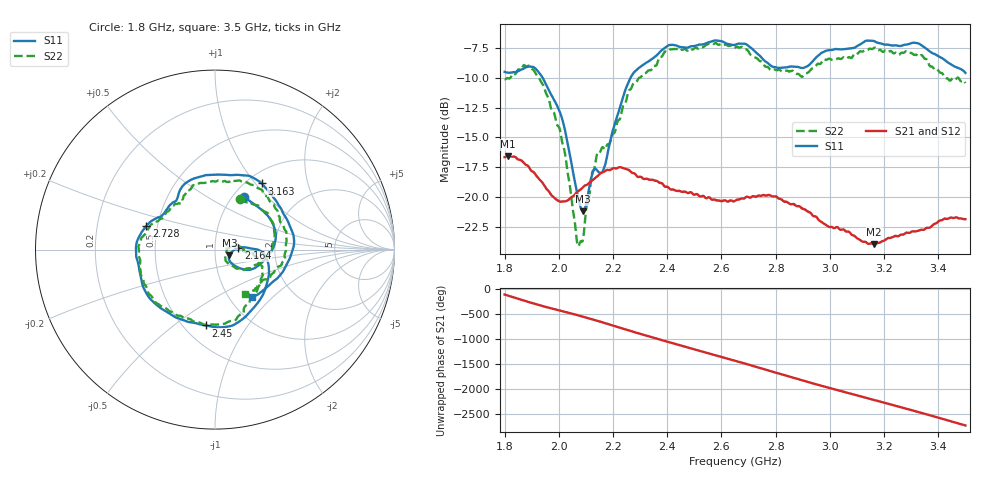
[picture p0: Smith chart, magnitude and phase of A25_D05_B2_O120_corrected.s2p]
! Created with skrf 1.9.0 (http://scikit-rf.org).
# Hz S RI R 50.0
!freq ReS11 ImS11 ReS21 ImS21 ReS12 ImS12 ReS22 ImS22
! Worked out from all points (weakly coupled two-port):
!   1601 points, 1.8 GHz to 3.5 GHz, reference 50 ohm
!   highest |S21| = -16.58 dB at 1.812 GHz (marker M1); lowest = -24.0 dB at 3.163 GHz (marker M2)
!   lowest |S11| = -21.2 dB at 2.09 GHz (marker M3), VSWR 1.19, Z = 58.6 - j3.79 ohm
!   |S11| at or under -10 dB: 1.941 GHz to 2.264 GHz (323.8 MHz wide, 15.4 % of centre)
!   |S22| runs from -24.1 to -7.1 dB; largest |S21 - S12| = 0.0027
!   S11 on the Smith chart (normalised r, x): 1.8 GHz: 1.13, +0.74; 2.164 GHz: 1.30, +0.02; 2.45 GHz: 0.64, -0.66; 2.728 GHz: 0.43, +0.14; 3.163 GHz: 1.17, +1.08; 3.5 GHz: 1.27, -0.75
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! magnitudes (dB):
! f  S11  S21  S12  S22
! 1.8 GHz  -9.5  -16.7  -16.7  -10.1
! 1.812 GHz  -9.6  -16.6  -16.6  -10.0
! 1.886 GHz  -9.1  -17.4  -17.5  -9.0
! 1.942 GHz  -10.1  -18.9  -18.9  -10.6
! 2.011 GHz  -13.4  -20.4  -20.4  -15.3
! 2.067 GHz  -19.6  -19.6  -19.6  -23.7
! 2.084 GHz  -21.1  -19.3  -19.3  -23.7
! 2.09 GHz  -21.2  -19.2  -19.2  -23.5
! 2.127 GHz  -17.8  -18.6  -18.6  -17.8
! 2.164 GHz  -17.7  -17.9  -17.9  -15.9
! 2.2 GHz  -14.4  -17.6  -17.6  -14.7
! 2.261 GHz  -10.2  -17.8  -17.8  -11.0
! 2.367 GHz  -8.0  -18.8  -18.7  -8.5
! 2.45 GHz  -7.4  -19.6  -19.5  -7.6
! 2.65 GHz  -7.2  -20.3  -20.3  -7.5
! 2.728 GHz  -7.9  -20.0  -20.0  -8.3
! 2.805 GHz  -9.1  -20.0  -20.1  -9.4
! 2.934 GHz  -8.7  -21.5  -21.5  -9.2
! 3.163 GHz  -6.9  -24.0  -23.9  -7.5
! 3.217 GHz  -7.2  -23.5  -23.4  -7.8
! 3.326 GHz  -7.1  -22.9  -22.8  -8.2
! 3.5 GHz  -9.6  -21.9  -21.9  -10.4
